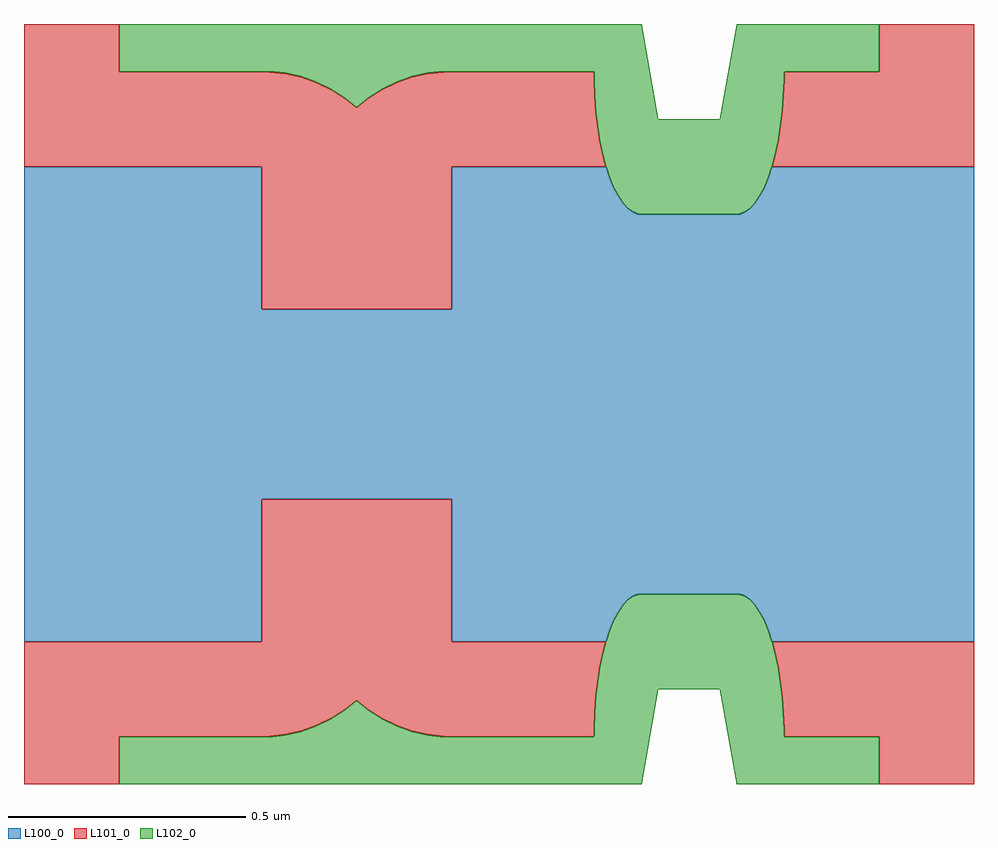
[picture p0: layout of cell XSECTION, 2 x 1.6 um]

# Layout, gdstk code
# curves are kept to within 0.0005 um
import gdstk
lib = gdstk.Library(unit=1e-6, precision=1e-10)
def P(c, l, *ps):  # polygons
    for p in ps: c.add(gdstk.Polygon(p, *l))
L100_0 = (100, 0)
L101_0 = (101, 0)
L102_0 = (102, 0)

xsection = lib.new_cell('XSECTION')
P(xsection, L100_0, [(0,-1),(0,0),(0.5,0),(0.5,-0.3),(0.9,-0.3),(0.9,0),(1.2252,0),(1.2333,-0.024),(1.242,-0.0451),(1.2516,-0.063),(1.2617,-0.0776),(1.2723,-0.0887),(1.2832,-0.0962),(1.2944,-0.1),(1.5056,-0.1),(1.5168,-0.0962),(1.5277,-0.0887),(1.5383,-0.0776),(1.5484,-0.063),(1.558,-0.0451),(1.5667,-0.024),(1.5748,0),(2,0),(2,-1),(1.5748,-1),(1.5667,-0.976),(1.558,-0.9549),(1.5484,-0.937),(1.5383,-0.9224),(1.5277,-0.9113),(1.5168,-0.9038),(1.5056,-0.9),(1.2944,-0.9),(1.2832,-0.9038),(1.2723,-0.9113),(1.2617,-0.9224),(1.2516,-0.937),(1.242,-0.9549),(1.2333,-0.976),(1.2252,-1),(0.9,-1),(0.9,-0.7),(0.5,-0.7),(0.5,-1)])
P(xsection, L101_0, [(1.8,-1.3),(1.8,-1.2),(1.6,-1.2),(1.5987,-1.1497),(1.5962,-1.1168),(1.5925,-1.085),(1.5877,-1.0547),(1.5817,-1.0261),(1.5751,-1),(2,-1),(2,-1.3)],
  [(0,-1.3),(0,-1),(0.5,-1),(0.5,-0.7),(0.9,-0.7),(0.9,-1),(1.2249,-1),(1.2183,-1.0261),(1.2123,-1.0547),(1.2075,-1.085),(1.2038,-1.1168),(1.2013,-1.1497),(1.2,-1.2),(0.8832,-1.2),(0.8497,-1.1962),(0.8168,-1.1887),(0.785,-1.1776),(0.7547,-1.163),(0.7261,-1.1451),(0.7005,-1.1246),(0.6995,-1.1246),(0.6739,-1.1451),(0.6453,-1.163),(0.615,-1.1776),(0.5832,-1.1887),(0.5503,-1.1962),(0.5168,-1.2),(0.2,-1.2),(0.2,-1.3)],
  [(0.5,-0.3),(0.5,0),(0,0),(0,0.3),(0.2,0.3),(0.2,0.2),(0.5168,0.2),(0.5503,0.1962),(0.5832,0.1887),(0.615,0.1776),(0.6453,0.163),(0.6739,0.1451),(0.6995,0.1246),(0.7005,0.1246),(0.7261,0.1451),(0.7547,0.163),(0.785,0.1776),(0.8168,0.1887),(0.8497,0.1962),(0.8832,0.2),(1.2,0.2),(1.2013,0.1497),(1.2038,0.1168),(1.2075,0.085),(1.2123,0.0547),(1.2183,0.0261),(1.2249,0),(0.9,0),(0.9,-0.3)],
  [(1.5751,0),(1.5817,0.0261),(1.5877,0.0547),(1.5925,0.085),(1.5962,0.1168),(1.5987,0.1497),(1.6,0.2),(1.8,0.2),(1.8,0.3),(2,0.3),(2,0)])
P(xsection, L102_0, [(0.2,-1.3),(0.2,-1.2),(0.5168,-1.2),(0.5503,-1.1962),(0.5832,-1.1887),(0.615,-1.1776),(0.6453,-1.163),(0.6739,-1.1451),(0.6995,-1.1246),(0.7005,-1.1246),(0.7261,-1.1451),(0.7547,-1.163),(0.785,-1.1776),(0.8168,-1.1887),(0.8497,-1.1962),(0.8832,-1.2),(1.2,-1.2),(1.2013,-1.1497),(1.2038,-1.1168),(1.2075,-1.085),(1.2123,-1.0547),(1.2183,-1.0261),(1.2249,-1),(1.2333,-0.976),(1.242,-0.9549),(1.2516,-0.937),(1.2617,-0.9224),(1.2723,-0.9113),(1.2832,-0.9038),(1.2944,-0.9),(1.5056,-0.9),(1.5168,-0.9038),(1.5277,-0.9113),(1.5383,-0.9224),(1.5484,-0.937),(1.558,-0.9549),(1.5667,-0.976),(1.5751,-1),(1.5817,-1.0261),(1.5877,-1.0547),(1.5925,-1.085),(1.5962,-1.1168),(1.5987,-1.1497),(1.6,-1.2),(1.8,-1.2),(1.8,-1.3),(1.5,-1.3),(1.4647,-1.1),(1.3353,-1.1),(1.3,-1.3)],
  [(1.2944,-0.1),(1.2832,-0.0962),(1.2723,-0.0887),(1.2617,-0.0776),(1.2516,-0.063),(1.242,-0.0451),(1.2333,-0.024),(1.2249,0),(1.2183,0.0261),(1.2123,0.0547),(1.2075,0.085),(1.2038,0.1168),(1.2013,0.1497),(1.2,0.1792),(1.2,0.2),(0.8832,0.2),(0.8497,0.1962),(0.8168,0.1887),(0.785,0.1776),(0.7547,0.163),(0.7261,0.1451),(0.7005,0.1246),(0.6995,0.1246),(0.6739,0.1451),(0.6453,0.163),(0.615,0.1776),(0.5832,0.1887),(0.5503,0.1962),(0.5168,0.2),(0.2,0.2),(0.2,0.3),(1.3,0.3),(1.3353,0.1),(1.4647,0.1),(1.5,0.3),(1.8,0.3),(1.8,0.2),(1.6,0.2),(1.6,0.1792),(1.5987,0.1497),(1.5962,0.1168),(1.5925,0.085),(1.5877,0.0547),(1.5817,0.0261),(1.5751,0),(1.5667,-0.024),(1.558,-0.0451),(1.5484,-0.063),(1.5383,-0.0776),(1.5277,-0.0887),(1.5168,-0.0962),(1.5056,-0.1)])

lib.write_gds('XSECTION.gds')
